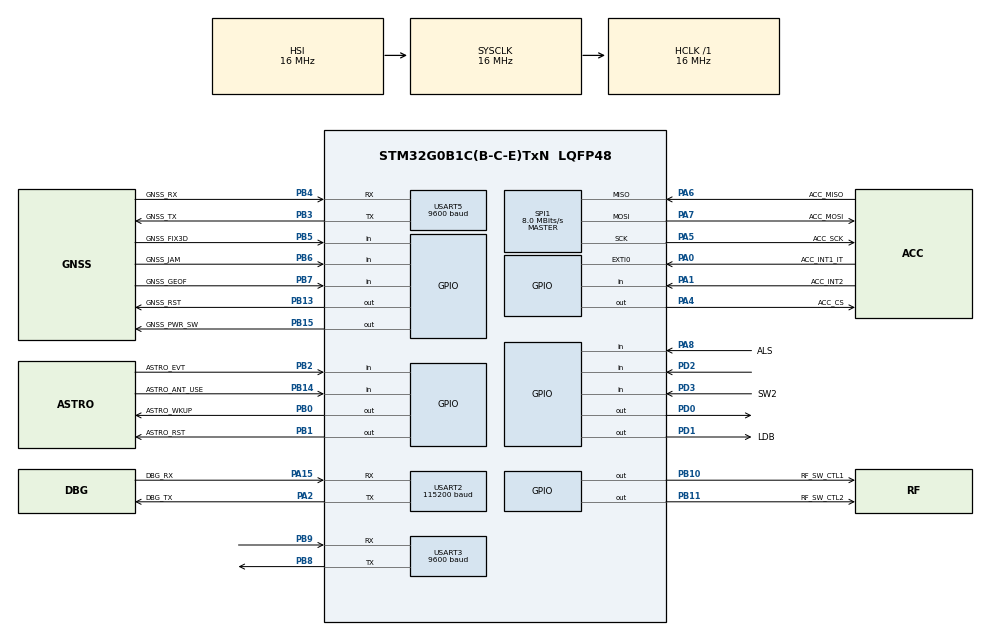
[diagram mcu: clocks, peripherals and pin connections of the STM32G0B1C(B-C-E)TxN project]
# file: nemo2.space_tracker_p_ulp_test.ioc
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Mcu.Family=STM32G0
Mcu.Name=STM32G0B1C(B-C-E)TxN
Mcu.Package=LQFP48
PA0.GPIO_Label=ACC_INT1_IT
PA0.Signal=GPXTI0
PA1.GPIO_Label=ACC_INT2
PA1.Signal=GPIO_Input
PA13.Mode=Serial_Wire
PA13.Signal=SYS_SWDIO
PA14-BOOT0.Mode=Serial_Wire
PA14-BOOT0.Signal=SYS_SWCLK
PA15.GPIO_Label=DBG_RX
PA15.Mode=Asynchronous
PA15.Signal=USART2_RX
PA2.GPIO_Label=DBG_TX
PA2.Mode=Asynchronous
PA2.Signal=USART2_TX
PA4.GPIO_Label=ACC_CS
PA4.Signal=GPIO_Output
PA5.GPIO_Label=ACC_SCK
PA5.Mode=Full_Duplex_Master
PA5.Signal=SPI1_SCK
PA6.GPIO_Label=ACC_MISO
PA6.Mode=Full_Duplex_Master
PA6.Signal=SPI1_MISO
PA7.GPIO_Label=ACC_MOSI
PA7.Mode=Full_Duplex_Master
PA7.Signal=SPI1_MOSI
PA8.GPIO_Label=ALS
PA8.Signal=GPIO_Input
PB0.GPIO_Label=ASTRO_WKUP
PB0.Signal=GPIO_Output
PB1.GPIO_Label=ASTRO_RST
PB1.Signal=GPIO_Output
PB10.GPIO_Label=RF_SW_CTL1
PB10.Signal=GPIO_Output
PB11.GPIO_Label=RF_SW_CTL2
PB11.Signal=GPIO_Output
PB13.GPIO_Label=GNSS_RST
PB13.GPIO_ModeDefaultOutputPP=GPIO_MODE_OUTPUT_OD
PB13.GPIO_PuPd=GPIO_NOPULL
PB13.PinState=GPIO_PIN_SET
PB13.Signal=GPIO_Output
PB14.GPIO_Label=ASTRO_ANT_USE
PB14.Signal=GPIO_Input
PB15.GPIO_Label=GNSS_PWR_SW
PB15.Signal=GPIO_Output
PB2.GPIO_Label=ASTRO_EVT
PB2.Signal=GPIO_Input
PB3.GPIO_Label=GNSS_TX
PB3.Mode=Asynchronous
PB3.Signal=USART5_TX
PB4.GPIO_Label=GNSS_RX
PB4.Mode=Asynchronous
PB4.Signal=USART5_RX
PB5.GPIO_Label=GNSS_FIX3D
PB5.Signal=GPIO_Input
PB6.GPIO_Label=GNSS_JAM
PB6.Signal=GPIO_Input
PB7.GPIO_Label=GNSS_GEOF
PB7.Signal=GPIO_Input
PB8.Mode=Asynchronous
PB8.Signal=USART3_TX
PB9.Mode=Asynchronous
PB9.Signal=USART3_RX
PC14-OSC32_IN\ (PC14).Mode=LSE-External-Oscillator
PC14-OSC32_IN\ (PC14).Signal=RCC_OSC32_IN
PC15-OSC32_OUT\ (PC15).Mode=LSE-External-Oscillator
PC15-OSC32_OUT\ (PC15).Signal=RCC_OSC32_OUT
PD0.Signal=GPIO_Output
PD1.GPIO_Label=LDB
PD1.Signal=GPIO_Output
PD2.Signal=GPIO_Input
PD3.GPIO_Label=SW2
PD3.Signal=GPIO_Input
ProjectManager.HeapSize=0x200
ProjectManager.StackSize=0x400
ProjectManager.TargetToolchain=STM32CubeIDE
RCC.AHBFreq_Value=16000000
RCC.CortexFreq_Value=16000000
RCC.EXTERNAL_CLOCK_VALUE=48000
RCC.HCLKFreq_Value=16000000
RCC.HSE_VALUE=8000000
RCC.HSI48_VALUE=48000000
RCC.HSI_VALUE=16000000
RCC.RTCClockSelection=RCC_RTCCLKSOURCE_LSE
RCC.SYSCLKFreq_VALUE=16000000
RCC.USBFreq_Value=48000000
RCC.VCOOutputFreq_Value=128000000
SPI1.CalculateBaudRate=8.0 MBits/s
SPI1.Direction=SPI_DIRECTION_2LINES
SPI1.Mode=SPI_MODE_MASTER
SPI1.VirtualType=VM_MASTER
TIM6.Period=1000-1
TIM6.Prescaler=16000-1
USART2.BaudRate=115200
USART2.VirtualMode-Asynchronous=VM_ASYNC
USART3.BaudRate=9600
USART3.VirtualMode-Asynchronous=VM_ASYNC
USART5.BaudRate=9600
USART5.VirtualMode-Asynchronous=VM_ASYNC
VP_RTC_VS_RTC_Activate.Mode=RTC_Enabled
VP_RTC_VS_RTC_Calendar.Mode=RTC_Calendar
VP_SYS_VS_DBSignals.Mode=DisableDeadBatterySignals
VP_TIM6_VS_ClockSourceINT.Mode=Enable_Timer
board=custom

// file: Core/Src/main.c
/* USER CODE BEGIN Header */
/**
  ******************************************************************************
  * @file           : main.c
  * @brief          : Main program body
  ******************************************************************************
  * @attention
  *
  * Copyright (c) 2024 STMicroelectronics.
  * All rights reserved.
  *
  * This software is licensed under terms that can be found in the LICENSE file
  * in the root directory of this software component.
  * If no LICENSE file comes with this software, it is provided AS-IS.
  *
  ******************************************************************************
  */
/* USER CODE END Header */
#include "main.h"

/* USER CODE BEGIN Includes */
#include "iis2dh_reg.h"
#include "my_astronode.h"
#include <stdio.h>
#include <string.h>
/* USER CODE END Includes */

RTC_HandleTypeDef hrtc;

SPI_HandleTypeDef hspi1;

TIM_HandleTypeDef htim6;

UART_HandleTypeDef huart2;
UART_HandleTypeDef huart3;
UART_HandleTypeDef huart5;

/* USER CODE BEGIN PV */
char		dbg_payload[250] = {0} ;
// ACC
stmdev_ctx_t my_acc_ctx ;
/* USER CODE END PV */

void SystemClock_Config(void);
static void MX_GPIO_Init(void);
static void MX_SPI1_Init(void);
static void MX_USART2_UART_Init(void);
static void MX_USART3_UART_Init(void);
static void MX_TIM6_Init(void);
static void MX_RTC_Init(void);
static void MX_USART5_UART_Init(void);
/* USER CODE BEGIN PFP */
void astro_reset ( void ) ;
void gnss_init ( void ) ;
void gnss_sw_off ( void ) ;
void acc_init ( void ) ;
void sys_init ( void ) ;
int32_t my_st_acc_platform_write ( void* , uint8_t , const uint8_t* , uint16_t ) ;
int32_t my_st_acc_platform_read ( void* , uint8_t , uint8_t* , uint16_t ) ;
void send_debug_logs ( char* ) ;
void my_astro_init ( void ) ;
void my_astro_deinit ( void ) ;
/* USER CODE END PFP */

int main(void)
{

  /* MCU Configuration--------------------------------------------------------*/

  /* Reset of all peripherals, Initializes the Flash interface and the Systick. */
  HAL_Init();

  /* Configure the system clock */
  SystemClock_Config();

  /* Initialize all configured peripherals */
  MX_GPIO_Init();
  MX_SPI1_Init();
  MX_USART2_UART_Init();
  MX_USART3_UART_Init();
  MX_TIM6_Init();
  MX_RTC_Init();
  MX_USART5_UART_Init();
  /* USER CODE BEGIN 2 */
  send_debug_logs ( "Hello ULP Test" ) ;
  sys_init () ;

  HAL_Delay ( 5000 ) ;
  //HAL_UART_DeInit ( &huart2 ) ;
  //HAL_UART_DeInit ( &huart3 ) ;
  //HAL_Delay ( 1000 ) ;
  //HAL_PWREx_EnterSHUTDOWNMode () ;

  gnss_sw_off () ;
  //my_astro_deinit () ;
  __HAL_RCC_GPIOC_CLK_DISABLE () ;
  __HAL_RCC_GPIOD_CLK_DISABLE () ;
  __HAL_RCC_GPIOF_CLK_DISABLE () ;
  HAL_SuspendTick () ;
  HAL_PWR_EnterSTOPMode ( PWR_LOWPOWERREGULATOR_ON , PWR_STOPENTRY_WFE ) ;

  //send_debug_logs ( "Wake-up" ) ;
  //HAL_ResumeTick () ;
  /* USER CODE END 2 */

  /* Infinite loop */
  while (1)
  {

  }
}

void SystemClock_Config(void)
{
  RCC_OscInitTypeDef RCC_OscInitStruct = {0};
  RCC_ClkInitTypeDef RCC_ClkInitStruct = {0};

  /** Configure the main internal regulator output voltage
  */
  HAL_PWREx_ControlVoltageScaling(PWR_REGULATOR_VOLTAGE_SCALE1);

  /** Configure LSE Drive Capability
  */
  HAL_PWR_EnableBkUpAccess();
  __HAL_RCC_LSEDRIVE_CONFIG(RCC_LSEDRIVE_LOW);

  /** Initializes the RCC Oscillators according to the specified parameters
  * in the RCC_OscInitTypeDef structure.
  */
  RCC_OscInitStruct.OscillatorType = RCC_OSCILLATORTYPE_HSI|RCC_OSCILLATORTYPE_LSE;
  RCC_OscInitStruct.LSEState = RCC_LSE_ON;
  RCC_OscInitStruct.HSIState = RCC_HSI_ON;
  RCC_OscInitStruct.HSIDiv = RCC_HSI_DIV1;
  RCC_OscInitStruct.HSICalibrationValue = RCC_HSICALIBRATION_DEFAULT;
  RCC_OscInitStruct.PLL.PLLState = RCC_PLL_NONE;
  if (HAL_RCC_OscConfig(&RCC_OscInitStruct) != HAL_OK)
  {
    Error_Handler();
  }

  /** Initializes the CPU, AHB and APB buses clocks
  */
  RCC_ClkInitStruct.ClockType = RCC_CLOCKTYPE_HCLK|RCC_CLOCKTYPE_SYSCLK
                              |RCC_CLOCKTYPE_PCLK1;
  RCC_ClkInitStruct.SYSCLKSource = RCC_SYSCLKSOURCE_HSI;
  RCC_ClkInitStruct.AHBCLKDivider = RCC_SYSCLK_DIV1;
  RCC_ClkInitStruct.APB1CLKDivider = RCC_HCLK_DIV1;

  if (HAL_RCC_ClockConfig(&RCC_ClkInitStruct, FLASH_LATENCY_0) != HAL_OK)
  {
    Error_Handler();
  }
}

static void MX_RTC_Init(void)
{

  RTC_TimeTypeDef sTime = {0};
  RTC_DateTypeDef sDate = {0};

  /** Initialize RTC Only
  */
  hrtc.Instance = RTC;
  hrtc.Init.HourFormat = RTC_HOURFORMAT_24;
  hrtc.Init.AsynchPrediv = 127;
  hrtc.Init.SynchPrediv = 255;
  hrtc.Init.OutPut = RTC_OUTPUT_DISABLE;
  hrtc.Init.OutPutRemap = RTC_OUTPUT_REMAP_NONE;
  hrtc.Init.OutPutPolarity = RTC_OUTPUT_POLARITY_HIGH;
  hrtc.Init.OutPutType = RTC_OUTPUT_TYPE_OPENDRAIN;
  hrtc.Init.OutPutPullUp = RTC_OUTPUT_PULLUP_NONE;
  if (HAL_RTC_Init(&hrtc) != HAL_OK)
  {
    Error_Handler();
  }

  /** Initialize RTC and set the Time and Date
  */
  sTime.Hours = 0x0;
  sTime.Minutes = 0x0;
  sTime.Seconds = 0x0;
  sTime.SubSeconds = 0x0;
  sTime.DayLightSaving = RTC_DAYLIGHTSAVING_NONE;
  sTime.StoreOperation = RTC_STOREOPERATION_RESET;
  if (HAL_RTC_SetTime(&hrtc, &sTime, RTC_FORMAT_BCD) != HAL_OK)
  {
    Error_Handler();
  }
  sDate.WeekDay = RTC_WEEKDAY_MONDAY;
  sDate.Month = RTC_MONTH_JANUARY;
  sDate.Date = 0x1;
  sDate.Year = 0x0;

  if (HAL_RTC_SetDate(&hrtc, &sDate, RTC_FORMAT_BCD) != HAL_OK)
  {
    Error_Handler();
  }

}

static void MX_SPI1_Init(void)
{

  /* SPI1 parameter configuration*/
  hspi1.Instance = SPI1;
  hspi1.Init.Mode = SPI_MODE_MASTER;
  hspi1.Init.Direction = SPI_DIRECTION_2LINES;
  hspi1.Init.DataSize = SPI_DATASIZE_8BIT;
  hspi1.Init.CLKPolarity = SPI_POLARITY_LOW;
  hspi1.Init.CLKPhase = SPI_PHASE_1EDGE;
  hspi1.Init.NSS = SPI_NSS_SOFT;
  hspi1.Init.BaudRatePrescaler = SPI_BAUDRATEPRESCALER_2;
  hspi1.Init.FirstBit = SPI_FIRSTBIT_MSB;
  hspi1.Init.TIMode = SPI_TIMODE_DISABLE;
  hspi1.Init.CRCCalculation = SPI_CRCCALCULATION_DISABLE;
  hspi1.Init.CRCPolynomial = 7;
  hspi1.Init.CRCLength = SPI_CRC_LENGTH_DATASIZE;
  hspi1.Init.NSSPMode = SPI_NSS_PULSE_ENABLE;
  if (HAL_SPI_Init(&hspi1) != HAL_OK)
  {
    Error_Handler();
  }

}

static void MX_TIM6_Init(void)
{

  TIM_MasterConfigTypeDef sMasterConfig = {0};

  htim6.Instance = TIM6;
  htim6.Init.Prescaler = 16000-1;
  htim6.Init.CounterMode = TIM_COUNTERMODE_UP;
  htim6.Init.Period = 1000-1;
  htim6.Init.AutoReloadPreload = TIM_AUTORELOAD_PRELOAD_DISABLE;
  if (HAL_TIM_Base_Init(&htim6) != HAL_OK)
  {
    Error_Handler();
  }
  sMasterConfig.MasterOutputTrigger = TIM_TRGO_RESET;
  sMasterConfig.MasterSlaveMode = TIM_MASTERSLAVEMODE_DISABLE;
  if (HAL_TIMEx_MasterConfigSynchronization(&htim6, &sMasterConfig) != HAL_OK)
  {
    Error_Handler();
  }

}

static void MX_USART2_UART_Init(void)
{

  huart2.Instance = USART2;
  huart2.Init.BaudRate = 115200;
  huart2.Init.WordLength = UART_WORDLENGTH_8B;
  huart2.Init.StopBits = UART_STOPBITS_1;
  huart2.Init.Parity = UART_PARITY_NONE;
  huart2.Init.Mode = UART_MODE_TX_RX;
  huart2.Init.HwFlowCtl = UART_HWCONTROL_NONE;
  huart2.Init.OverSampling = UART_OVERSAMPLING_16;
  huart2.Init.OneBitSampling = UART_ONE_BIT_SAMPLE_DISABLE;
  huart2.Init.ClockPrescaler = UART_PRESCALER_DIV1;
  huart2.AdvancedInit.AdvFeatureInit = UART_ADVFEATURE_NO_INIT;
  if (HAL_UART_Init(&huart2) != HAL_OK)
  {
    Error_Handler();
  }
  if (HAL_UARTEx_SetTxFifoThreshold(&huart2, UART_TXFIFO_THRESHOLD_1_8) != HAL_OK)
  {
    Error_Handler();
  }
  if (HAL_UARTEx_SetRxFifoThreshold(&huart2, UART_RXFIFO_THRESHOLD_1_8) != HAL_OK)
  {
    Error_Handler();
  }
  if (HAL_UARTEx_DisableFifoMode(&huart2) != HAL_OK)
  {
    Error_Handler();
  }

}

static void MX_USART3_UART_Init(void)
{

  huart3.Instance = USART3;
  huart3.Init.BaudRate = 9600;
  huart3.Init.WordLength = UART_WORDLENGTH_8B;
  huart3.Init.StopBits = UART_STOPBITS_1;
  huart3.Init.Parity = UART_PARITY_NONE;
  huart3.Init.Mode = UART_MODE_TX_RX;
  huart3.Init.HwFlowCtl = UART_HWCONTROL_NONE;
  huart3.Init.OverSampling = UART_OVERSAMPLING_16;
  huart3.Init.OneBitSampling = UART_ONE_BIT_SAMPLE_DISABLE;
  huart3.Init.ClockPrescaler = UART_PRESCALER_DIV1;
  huart3.AdvancedInit.AdvFeatureInit = UART_ADVFEATURE_NO_INIT;
  if (HAL_UART_Init(&huart3) != HAL_OK)
  {
    Error_Handler();
  }
  if (HAL_UARTEx_SetTxFifoThreshold(&huart3, UART_TXFIFO_THRESHOLD_1_8) != HAL_OK)
  {
    Error_Handler();
  }
  if (HAL_UARTEx_SetRxFifoThreshold(&huart3, UART_RXFIFO_THRESHOLD_1_8) != HAL_OK)
  {
    Error_Handler();
  }
  if (HAL_UARTEx_DisableFifoMode(&huart3) != HAL_OK)
  {
    Error_Handler();
  }

}

static void MX_USART5_UART_Init(void)
{

  huart5.Instance = USART5;
  huart5.Init.BaudRate = 9600;
  huart5.Init.WordLength = UART_WORDLENGTH_8B;
  huart5.Init.StopBits = UART_STOPBITS_1;
  huart5.Init.Parity = UART_PARITY_NONE;
  huart5.Init.Mode = UART_MODE_TX_RX;
  huart5.Init.HwFlowCtl = UART_HWCONTROL_NONE;
  huart5.Init.OverSampling = UART_OVERSAMPLING_16;
  huart5.Init.OneBitSampling = UART_ONE_BIT_SAMPLE_DISABLE;
  huart5.Init.ClockPrescaler = UART_PRESCALER_DIV1;
  huart5.AdvancedInit.AdvFeatureInit = UART_ADVFEATURE_NO_INIT;
  if (HAL_UART_Init(&huart5) != HAL_OK)
  {
    Error_Handler();
  }

}

static void MX_GPIO_Init(void)
{
  GPIO_InitTypeDef GPIO_InitStruct = {0};

  /* GPIO Ports Clock Enable */
  __HAL_RCC_GPIOC_CLK_ENABLE();
  __HAL_RCC_GPIOA_CLK_ENABLE();
  __HAL_RCC_GPIOB_CLK_ENABLE();
  __HAL_RCC_GPIOD_CLK_ENABLE();

  /*Configure GPIO pin Output Level */
  HAL_GPIO_WritePin(ACC_CS_GPIO_Port, ACC_CS_Pin, GPIO_PIN_RESET);

  /*Configure GPIO pin Output Level */
  HAL_GPIO_WritePin(GPIOB, ASTRO_WKUP_Pin|ASTRO_RST_Pin|RF_SW_CTL1_Pin|RF_SW_CTL2_Pin
                          |GNSS_PWR_SW_Pin, GPIO_PIN_RESET);

  /*Configure GPIO pin Output Level */
  HAL_GPIO_WritePin(GNSS_RST_GPIO_Port, GNSS_RST_Pin, GPIO_PIN_SET);

  /*Configure GPIO pin Output Level */
  HAL_GPIO_WritePin(GPIOD, GPIO_PIN_0|LDB_Pin, GPIO_PIN_RESET);

  /*Configure GPIO pin : ACC_INT1_IT_Pin */
  GPIO_InitStruct.Pin = ACC_INT1_IT_Pin;
  GPIO_InitStruct.Mode = GPIO_MODE_IT_RISING;
  GPIO_InitStruct.Pull = GPIO_NOPULL;
  HAL_GPIO_Init(ACC_INT1_IT_GPIO_Port, &GPIO_InitStruct);

  /*Configure GPIO pins : ACC_INT2_Pin ALS_Pin */
  GPIO_InitStruct.Pin = ACC_INT2_Pin|ALS_Pin;
  GPIO_InitStruct.Mode = GPIO_MODE_INPUT;
  GPIO_InitStruct.Pull = GPIO_NOPULL;
  HAL_GPIO_Init(GPIOA, &GPIO_InitStruct);

  /*Configure GPIO pin : ACC_CS_Pin */
  GPIO_InitStruct.Pin = ACC_CS_Pin;
  GPIO_InitStruct.Mode = GPIO_MODE_OUTPUT_PP;
  GPIO_InitStruct.Pull = GPIO_NOPULL;
  GPIO_InitStruct.Speed = GPIO_SPEED_FREQ_LOW;
  HAL_GPIO_Init(ACC_CS_GPIO_Port, &GPIO_InitStruct);

  /*Configure GPIO pins : ASTRO_WKUP_Pin ASTRO_RST_Pin RF_SW_CTL1_Pin RF_SW_CTL2_Pin
                           GNSS_PWR_SW_Pin */
  GPIO_InitStruct.Pin = ASTRO_WKUP_Pin|ASTRO_RST_Pin|RF_SW_CTL1_Pin|RF_SW_CTL2_Pin
                          |GNSS_PWR_SW_Pin;
  GPIO_InitStruct.Mode = GPIO_MODE_OUTPUT_PP;
  GPIO_InitStruct.Pull = GPIO_NOPULL;
  GPIO_InitStruct.Speed = GPIO_SPEED_FREQ_LOW;
  HAL_GPIO_Init(GPIOB, &GPIO_InitStruct);

  /*Configure GPIO pins : ASTRO_EVT_Pin ASTRO_ANT_USE_Pin GNSS_FIX3D_Pin GNSS_JAM_Pin
                           GNSS_GEOF_Pin */
  GPIO_InitStruct.Pin = ASTRO_EVT_Pin|ASTRO_ANT_USE_Pin|GNSS_FIX3D_Pin|GNSS_JAM_Pin
                          |GNSS_GEOF_Pin;
  GPIO_InitStruct.Mode = GPIO_MODE_INPUT;
  GPIO_InitStruct.Pull = GPIO_NOPULL;
  HAL_GPIO_Init(GPIOB, &GPIO_InitStruct);

  /*Configure GPIO pin : GNSS_RST_Pin */
  GPIO_InitStruct.Pin = GNSS_RST_Pin;
  GPIO_InitStruct.Mode = GPIO_MODE_OUTPUT_OD;
  GPIO_InitStruct.Pull = GPIO_NOPULL;
  GPIO_InitStruct.Speed = GPIO_SPEED_FREQ_LOW;
  HAL_GPIO_Init(GNSS_RST_GPIO_Port, &GPIO_InitStruct);

  /*Configure GPIO pins : PD0 LDB_Pin */
  GPIO_InitStruct.Pin = GPIO_PIN_0|LDB_Pin;
  GPIO_InitStruct.Mode = GPIO_MODE_OUTPUT_PP;
  GPIO_InitStruct.Pull = GPIO_NOPULL;
  GPIO_InitStruct.Speed = GPIO_SPEED_FREQ_LOW;
  HAL_GPIO_Init(GPIOD, &GPIO_InitStruct);

  /*Configure GPIO pins : PD2 SW2_Pin */
  GPIO_InitStruct.Pin = GPIO_PIN_2|SW2_Pin;
  GPIO_InitStruct.Mode = GPIO_MODE_INPUT;
  GPIO_InitStruct.Pull = GPIO_NOPULL;
  HAL_GPIO_Init(GPIOD, &GPIO_InitStruct);

}

/* USER CODE BEGIN 4 */

void acc_init ( void )
{
	uint8_t id = 0 ;

	my_acc_ctx.write_reg = my_st_acc_platform_write ;
	my_acc_ctx.read_reg = my_st_acc_platform_read ;
	my_acc_ctx.handle = &hspi1 ;

	iis2dh_device_id_get ( &my_acc_ctx , &id ) ;
	sprintf ( dbg_payload , "IIS2DH_ID id = %u, my_acc_id = %u" , 0x33U , (uint16_t) id ) ;
	send_debug_logs ( dbg_payload ) ;

	//  Configuration: 2g, LP and 25Hz gives 4 uA of ACC power consumption
	iis2dh_full_scale_set ( &my_acc_ctx , IIS2DH_2g ) ; // FS bits [ 2 g - 16 g ]
	iis2dh_operating_mode_set ( &my_acc_ctx , IIS2DH_LP_8bit ) ; // [ High Resolution , Normal Mode , Low Power]
	iis2dh_data_rate_set ( &my_acc_ctx , IIS2DH_ODR_10Hz ) ; // Below 25Hz it will be hard to calculate free-fall
	//iis2dh_data_rate_set ( &my_acc_ctx , IIS2DH_POWER_DOWN ) ; // Below 25Hz it will be hard to calculate free-fall
	iis2dh_fifo_mode_set ( &my_acc_ctx , IIS2DH_FIFO_MODE ) ; // FIFO mode allows consistent power saving for the system, since the host processor does not need to	continuously poll data from the sensor, but it can wake up only when needed and burst the significant data out from the FIFO.

	// Temperature sensor enable.
	// iis2dh_temperature_meas_set( &my_acc_ctx , IIS2DH_TEMP_ENABLE ) ;
	// To retrieve the temperature sensor data the BDU bit in CTRL_REG4 (23h) must be set to 1.
	// iis2dh_block_data_update_set ( &my_acc_ctx , PROPERTY_ENABLE ) ;

	// Interrupt request on INT1_SRC (31h) and INT2_SRC (35h) latched. Register cleared by reading INTx_SRC itself.
	//iis2dh_int1_pin_notification_mode_set ( &my_acc_ctx , IIS2DH_INT2_LATCHED ) ;
	//iis2dh_int2_pin_notification_mode_set ( &my_acc_ctx , IIS2DH_INT2_LATCHED ) ;

	// The IIS2DH may also be configured to generate an inertial wake-up and free-fall interrupt signal according to a programmed acceleration event along the enabled axes. Both free-fall and wake-up can be available simultaneously on two different pins.

}
// ACC LL Function
int32_t my_st_acc_platform_write ( void *handle , uint8_t reg , const uint8_t *bufp , uint16_t len )
{
	HAL_GPIO_WritePin	( ACC_CS_GPIO_Port , ACC_CS_Pin , GPIO_PIN_RESET ) ;
	HAL_Delay ( 20 ) ;
	HAL_SPI_Transmit	( handle , &reg , 1 , 1000 ) ;
	HAL_SPI_Transmit	( handle , (uint8_t*) bufp , len , 1000 ) ;
	HAL_GPIO_WritePin	( ACC_CS_GPIO_Port , ACC_CS_Pin , GPIO_PIN_SET) ;

	return 0;
}

int32_t my_st_acc_platform_read ( void *handle , uint8_t reg , uint8_t *bufp , uint16_t len )
{
	reg |= 0x80;
	HAL_GPIO_WritePin ( ACC_CS_GPIO_Port , ACC_CS_Pin , GPIO_PIN_RESET) ;
	HAL_Delay ( 20 ) ;
	HAL_SPI_Transmit ( handle , &reg , 1 , 1000 ) ;
	HAL_SPI_Receive ( handle , bufp , len , 1000 ) ;
	HAL_GPIO_WritePin ( ACC_CS_GPIO_Port , ACC_CS_Pin , GPIO_PIN_SET) ;

	return 0;
}
void gnss_init ( void )
{
	HAL_GPIO_WritePin ( GNSS_RST_GPIO_Port , GNSS_RST_Pin, GPIO_PIN_SET ) ;
}
void gnss_sw_off ( void )
{
	HAL_GPIO_WritePin ( GNSS_PWR_SW_GPIO_Port , GNSS_PWR_SW_Pin , GPIO_PIN_RESET ) ;
	HAL_GPIO_WritePin ( GNSS_RST_GPIO_Port , GNSS_RST_Pin , GPIO_PIN_RESET ) ;
	HAL_UART_DeInit ( &huart5 ) ;
}
// ASTRO
void send_debug_logs ( char* p_tx_buffer )
{
    uint32_t length = strlen ( p_tx_buffer ) ;

    if ( length > 250 )
    {
        HAL_UART_Transmit ( &huart2 , ( uint8_t* ) "[ERROR] UART buffer reached max length.\n" , 42 , 1000 ) ;
        length = 250 ;
    }

    HAL_UART_Transmit ( &huart2 , ( uint8_t* ) p_tx_buffer , length , 1000 ) ;
    HAL_UART_Transmit ( &huart2 , ( uint8_t* ) "\n" , 1 , 1000 ) ;
}
void my_astronode_reset ( void )
{
    HAL_GPIO_WritePin ( ASTRO_RST_GPIO_Port , ASTRO_RST_Pin , GPIO_PIN_SET ) ;
    HAL_Delay ( 1 ) ;
    HAL_GPIO_WritePin ( ASTRO_RST_GPIO_Port , ASTRO_RST_Pin , GPIO_PIN_RESET ) ;
    HAL_Delay ( 250 ) ;
}
void send_astronode_request ( uint8_t* p_tx_buffer , uint32_t length )
{
    send_debug_logs ( "Message sent to the Astronode --> " ) ;
    send_debug_logs ( ( char* ) p_tx_buffer ) ;
    HAL_UART_Transmit ( &huart3 , p_tx_buffer , length , 1000 ) ;
}
uint32_t get_systick ( void )
{
    return HAL_GetTick() ;
}
bool is_systick_timeout_over ( uint32_t starting_value , uint16_t duration )
{
    return ( get_systick () - starting_value > duration ) ? true : false ;
}
bool is_astronode_character_received ( uint8_t* p_rx_char )
{
    return ( HAL_UART_Receive ( &huart3 , p_rx_char , 1 , 100 ) == HAL_OK ? true : false ) ;
}
bool my_astro_evt_pin ()
{
	return ( HAL_GPIO_ReadPin ( ASTRO_EVT_GPIO_Port , ASTRO_EVT_Pin ) == GPIO_PIN_SET ? true : false);
}
void my_astro_init ( void )
{
	bool cfg_wr = false ;

	while ( !cfg_wr )
	{
		my_astronode_reset () ;
		// Satellite Acknowledgement (true): Asset informed of ACK to satellite (default)
		// Add Geolocation (true)
		// Enable_ephemeris (true)
		// Deep Sleep Mode (false) NOT used
		// Satellite Ack Event Pin Mask (true): EVT pin shows EVT register Payload Ack bit state
		// Reset Notification Event Pin Mask (true):  EVT pin shows EVT register Reset Event Notification bit state
		// Command Available Event Pin Mask (true): EVT pin shows EVT register Command Available bit state
		// Message Transmission (Tx) Pending Event Pin Mask (false):  EVT pin does not show EVT register Msg Tx Pending bit state
		cfg_wr = astronode_send_cfg_wr ( true , true , true , false , true , true , true , false  ) ;
	}

	if ( cfg_wr )
	{
		astronode_send_rtc_rr () ;
		astronode_send_cfg_sr () ;
		astronode_send_mpn_rr () ;
		astronode_send_msn_rr () ;
		astronode_send_mgi_rr () ;
		astronode_send_pld_fr () ; // The module's entire payload queue can be cleared with the Payload Free Request PLD_FR.
	}
	while ( my_astro_evt_pin () )
  {
	  sprintf ( dbg_payload , "%s,%d,my_astro_evt_pin" , __FILE__ , __LINE__ ) ;
	  send_debug_logs ( dbg_payload ) ;
	  my_astro_handle_evt () ;
  }
}
void my_astro_deinit ( void )
{
	HAL_UART_DeInit ( &huart3 ) ;
}

void sys_init ( void )
{
	acc_init () ;
	my_astro_init () ;
}

/* USER CODE END 4 */

void Error_Handler(void)
{
  __disable_irq();
  while (1)
  {
  }
}
